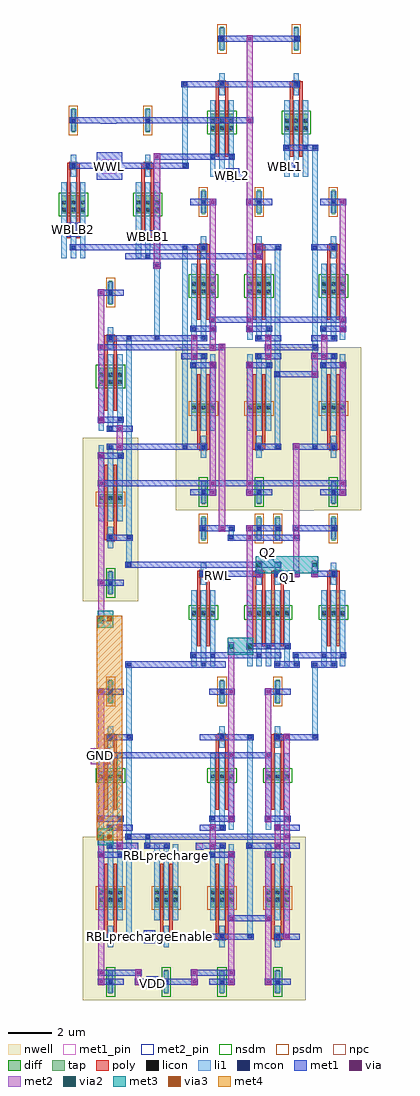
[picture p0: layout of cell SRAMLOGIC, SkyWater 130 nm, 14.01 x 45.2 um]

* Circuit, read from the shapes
.subckt SRAMLOGIC GND NOR OR Q1 Q2 RBLprecharge RBLprechargeEnable RWL VDD WBL1 WBL2 WBLB1 WBLB2 WWL
XM1 n1 WWL WBLB2 GND sky130_fd_pr__nfet_01v8 w=0.84 l=0.15 m=2
XM2 OR n2 GND GND sky130_fd_pr__nfet_01v8 w=0.42 l=0.15 m=2
XM3 n1 Q2 GND GND sky130_fd_pr__nfet_01v8 w=0.84 l=0.15 m=2
XM4 n3 WWL WBLB1 GND sky130_fd_pr__nfet_01v8 w=0.84 l=0.15 m=2
XM5 n2 RWL n4 GND sky130_fd_pr__nfet_01v8 w=0.42 l=0.15 m=2
XM6 Q2 n1 GND GND sky130_fd_pr__nfet_01v8 w=0.84 l=0.15 m=2
XM7 NOR n5 GND GND sky130_fd_pr__nfet_01v8 w=0.42 l=0.15 m=2
XM8 WBL2 WWL Q2 GND sky130_fd_pr__nfet_01v8 w=0.84 l=0.15 m=2
XM9 n4 Q2 GND GND sky130_fd_pr__nfet_01v8 w=0.42 l=0.15 m=2
XM10 Q1 n3 GND GND sky130_fd_pr__nfet_01v8 w=0.84 l=0.15 m=2
XM11 n5 n2 GND GND sky130_fd_pr__nfet_01v8 w=0.42 l=0.15 m=2
XM12 n6 Q1 GND GND sky130_fd_pr__nfet_01v8 w=0.42 l=0.15 m=2
XM13 WBL1 WWL Q1 GND sky130_fd_pr__nfet_01v8 w=0.84 l=0.15 m=2
XM14 n2 RWL n6 GND sky130_fd_pr__nfet_01v8 w=0.42 l=0.15 m=2
XM15 n3 Q1 GND GND sky130_fd_pr__nfet_01v8 w=0.84 l=0.15 m=2
XM16 OR n2 VDD VDD sky130_fd_pr__pfet_01v8 w=0.84 l=0.15 m=2
XM17 n1 Q2 VDD VDD sky130_fd_pr__pfet_01v8 w=0.42 l=0.15 m=2
XM18 n2 RBLprechargeEnable RBLprecharge VDD sky130_fd_pr__pfet_01v8 w=0.84 l=0.15 m=2
XM19 Q2 n1 VDD VDD sky130_fd_pr__pfet_01v8 w=0.42 l=0.15 m=2
XM20 NOR n5 VDD VDD sky130_fd_pr__pfet_01v8 w=0.84 l=0.15 m=2
XM21 Q1 n3 VDD VDD sky130_fd_pr__pfet_01v8 w=0.42 l=0.15 m=2
XM22 n5 n2 VDD VDD sky130_fd_pr__pfet_01v8 w=0.84 l=0.15 m=2
XM23 n3 Q1 VDD VDD sky130_fd_pr__pfet_01v8 w=0.42 l=0.15 m=2
.ends

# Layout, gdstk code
import gdstk
lib = gdstk.Library(unit=1e-6, precision=1e-09)
def R(c, l, rs):  # rectangles x0, y0, x1, y1
    for r in rs: c.add(gdstk.rectangle(r[:2], r[2:], *l))
def A(c, l, x, y, w, h, nx, ny, dx, dy):  # array of equal rectangles
    R(c, l, [(x+i*dx, y+j*dy, x+i*dx+w, y+j*dy+h) for i in range(nx) for j in range(ny)])
nwell = (64, 20)
diff = (65, 20)
tap = (65, 44)
poly = (66, 20)
licon = (66, 44)
li1 = (67, 20)
mcon = (67, 44)
met1_pin = (68, 16)
met1 = (68, 20)
via = (68, 44)
met2_pin = (69, 16)
met2 = (69, 20)
via2 = (69, 44)
met3 = (70, 20)
via3 = (70, 44)
met4 = (71, 20)
nsdm = (93, 44)
psdm = (94, 20)
npc = (95, 20)

sramlogic = lib.new_cell('SRAMLOGIC')
R(sramlogic, nwell, [(1.72,0,12.04,7.56), (1.72,18.48,4.3,26.04), (11,22.67,12.42,22.68), (6.02,22.68,14.62,30.24)])
A(sramlogic, diff, 2.455, 4.305, 1.11, 0.84, 4, 1, 2.58, 0)
R(sramlogic, diff, [(2.455,10.185,3.565,10.605), (7.615,10.185,8.725,10.605), (10.195,10.185,11.305,10.605), (6.755,17.745,7.865,18.165), (9.335,17.745,11.305,18.165), (12.775,17.745,13.885,18.165), (2.455,22.995,3.565,23.415), (6.755,27.195,7.865,27.615), (9.335,27.195,10.445,27.615), (12.775,27.195,13.885,27.615), (2.455,28.455,3.565,29.295), (6.755,32.655,7.865,33.495), (9.335,32.655,10.445,33.495), (12.775,32.655,13.885,33.495), (0.735,36.435,1.845,37.275), (4.175,36.435,5.285,37.275), (7.615,40.215,8.725,41.055), (11.055,40.215,12.165,41.055)])
A(sramlogic, tap, 2.925, 0.28, 0.17, 1.12, 4, 1, 2.58, 0)
R(sramlogic, tap, [(2.925,13.72,3.095,14.84), (8.085,13.72,8.255,14.84), (10.665,13.72,10.835,14.84), (2.925,18.76,3.095,19.88), (7.225,21.28,7.395,22.4), (9.805,21.28,9.975,22.4), (10.665,21.28,10.835,22.4), (13.245,21.28,13.415,22.4), (7.225,22.96,7.395,24.08), (9.805,22.96,9.975,24.08), (13.245,22.96,13.415,24.08), (2.925,32.2,3.095,33.32), (7.225,36.4,7.395,37.52), (9.805,36.4,9.975,37.52), (13.245,36.4,13.415,37.52), (1.205,40.18,1.375,41.3), (4.645,40.18,4.815,41.3), (8.085,43.96,8.255,45.08), (11.525,43.96,11.695,45.08)])
A(sramlogic, poly, 2.72, 2.805, 0.58, 0.27, 4, 1, 2.58, 0)
A(sramlogic, poly, 2.72, 12.045, 0.58, 0.27, 1, 3, 0, 9.24)
A(sramlogic, poly, 9.6, 16.38, 0.15, 3.225, 4, 1, 0.43, 0)
R(sramlogic, poly, [(2.72,3.075,2.87,6.3), (3.15,3.075,3.3,6.3), (5.3,3.075,5.45,6.3), (5.73,3.075,5.88,6.3), (7.88,3.075,8.03,6.3), (8.31,3.075,8.46,6.3), (10.46,3.075,10.61,6.3), (10.89,3.075,11.04,6.3), (2.72,8.82,2.87,12.045), (3.15,8.82,3.3,12.045), (7.88,8.82,8.03,12.045), (8.31,8.82,8.46,12.045), (10.46,8.82,10.61,12.045), (10.89,8.82,11.04,12.045), (7.88,12.045,8.46,12.315), (10.46,12.045,11.04,12.315), (7.02,16.38,7.17,19.605), (7.45,16.38,7.6,19.605), (13.04,16.38,13.19,19.605), (13.47,16.38,13.62,19.605), (7.02,19.605,7.6,19.875), (9.6,19.605,10.18,19.875), (10.46,19.605,11.04,19.875), (13.04,19.605,13.62,19.875), (2.72,21.555,2.87,24.78), (3.15,21.555,3.3,24.78), (7.02,25.485,7.6,25.755), (9.6,25.485,10.18,25.755), (13.04,25.485,13.62,25.755), (7.02,25.755,7.17,28.98), (7.45,25.755,7.6,28.98), (9.6,25.755,9.75,28.98), (10.03,25.755,10.18,28.98), (13.04,25.755,13.19,28.98), (13.47,25.755,13.62,28.98), (2.72,27.3,2.87,30.525), (3.15,27.3,3.3,30.525), (7.02,31.5,7.17,34.725), (7.45,31.5,7.6,34.725), (9.6,31.5,9.75,34.725), (10.03,31.5,10.18,34.725), (13.04,31.5,13.19,34.725), (13.47,31.5,13.62,34.725), (7.02,34.725,7.6,34.995), (9.6,34.725,10.18,34.995), (13.04,34.725,13.62,34.995), (1,35.28,1.15,38.505), (1.43,35.28,1.58,38.505), (4.44,35.28,4.59,38.505), (4.87,35.28,5.02,38.505), (1,38.505,1.58,38.775), (4.44,38.505,5.02,38.775), (7.88,39.06,8.03,42.285), (8.31,39.06,8.46,42.285), (11.32,39.06,11.47,42.285), (11.75,39.06,11.9,42.285), (7.88,42.285,8.46,42.555), (11.32,42.285,11.9,42.555)])
A(sramlogic, licon, 2.925, 0.755, 0.17, 0.17, 4, 2, 2.58, 2.1)
A(sramlogic, licon, 2.495, 4.555, 0.17, 0.17, 3, 2, 0.43, 0.34)
A(sramlogic, licon, 5.075, 4.555, 0.17, 0.17, 3, 2, 0.43, 0.34)
A(sramlogic, licon, 7.655, 4.555, 0.17, 0.17, 3, 2, 0.43, 0.34)
A(sramlogic, licon, 10.235, 4.555, 0.17, 0.17, 3, 2, 0.43, 0.34)
A(sramlogic, licon, 2.495, 10.265, 0.17, 0.17, 3, 2, 0.43, 12.9)
A(sramlogic, licon, 7.655, 10.265, 0.17, 0.17, 3, 2, 0.43, 30.03)
A(sramlogic, licon, 10.235, 10.265, 0.17, 0.17, 3, 1, 0.43, 0)
A(sramlogic, licon, 6.795, 17.825, 0.17, 0.17, 3, 2, 0.43, 9.54)
A(sramlogic, licon, 9.375, 17.825, 0.17, 0.17, 5, 1, 0.43, 0)
A(sramlogic, licon, 12.815, 17.825, 0.17, 0.17, 3, 2, 0.43, 9.54)
A(sramlogic, licon, 9.375, 27.365, 0.17, 0.17, 3, 2, 0.43, 5.37)
A(sramlogic, licon, 2.495, 28.535, 0.17, 0.17, 3, 2, 0.43, 0.34)
A(sramlogic, licon, 6.795, 32.735, 0.17, 0.17, 3, 2, 0.43, 0.34)
A(sramlogic, licon, 12.815, 32.735, 0.17, 0.17, 3, 2, 0.43, 0.34)
A(sramlogic, licon, 9.375, 33.075, 0.17, 0.17, 3, 1, 0.43, 0)
A(sramlogic, licon, 0.775, 36.515, 0.17, 0.17, 3, 2, 0.43, 0.34)
A(sramlogic, licon, 4.215, 36.515, 0.17, 0.17, 3, 2, 0.43, 0.34)
A(sramlogic, licon, 11.095, 40.295, 0.17, 0.17, 3, 2, 0.43, 0.34)
A(sramlogic, licon, 7.655, 40.635, 0.17, 0.17, 3, 1, 0.43, 0)
R(sramlogic, licon, [(2.925,12.095,3.095,12.265), (8.085,12.095,8.255,12.265), (10.665,12.095,10.835,12.265), (2.925,14.195,3.095,14.365), (8.085,14.195,8.255,14.365), (10.665,14.195,10.835,14.365), (2.925,19.235,3.095,19.405), (7.225,19.655,7.395,19.825), (9.805,19.655,9.975,19.825), (10.665,19.655,10.835,19.825), (13.245,19.655,13.415,19.825), (2.925,21.335,3.095,21.505), (7.225,21.755,7.395,21.925), (9.805,21.755,9.975,21.925), (10.665,21.755,10.835,21.925), (13.245,21.755,13.415,21.925), (7.225,23.435,7.395,23.605), (9.805,23.435,9.975,23.605), (13.245,23.435,13.415,23.605), (7.225,25.535,7.395,25.705), (9.805,25.535,9.975,25.705), (13.245,25.535,13.415,25.705), (2.925,30.575,3.095,30.745), (2.925,32.675,3.095,32.845), (7.225,34.775,7.395,34.945), (9.805,34.775,9.975,34.945), (13.245,34.775,13.415,34.945), (7.225,36.875,7.395,37.045), (9.805,36.875,9.975,37.045), (13.245,36.875,13.415,37.045), (1.205,38.555,1.375,38.725), (4.645,38.555,4.815,38.725), (1.205,40.655,1.375,40.825), (4.645,40.655,4.815,40.825), (8.085,42.335,8.255,42.505), (11.525,42.335,11.695,42.505), (8.085,44.435,8.255,44.605), (11.525,44.435,11.695,44.605)])
A(sramlogic, li1, 2.885, 0.335, 0.25, 1.01, 4, 2, 2.58, 2.1)
A(sramlogic, li1, 2.455, 3.695, 0.25, 3.53, 3, 2, 0.43, 4.2)
A(sramlogic, li1, 5.035, 3.695, 0.25, 3.53, 3, 1, 0.43, 0)
A(sramlogic, li1, 7.615, 3.695, 0.25, 3.53, 3, 2, 0.43, 4.2)
A(sramlogic, li1, 10.195, 3.695, 0.25, 3.53, 3, 2, 0.43, 4.2)
A(sramlogic, li1, 6.755, 15.455, 0.25, 3.53, 3, 2, 0.43, 10.92)
A(sramlogic, li1, 9.335, 15.455, 0.25, 3.53, 5, 1, 0.43, 0)
A(sramlogic, li1, 12.775, 15.455, 0.25, 3.53, 3, 2, 0.43, 10.92)
A(sramlogic, li1, 2.455, 22.175, 0.25, 3.53, 3, 2, 0.43, 4.2)
A(sramlogic, li1, 9.335, 26.375, 0.25, 3.53, 3, 2, 0.43, 4.2)
A(sramlogic, li1, 6.755, 30.575, 0.25, 3.53, 3, 1, 0.43, 0)
A(sramlogic, li1, 12.775, 30.575, 0.25, 3.53, 3, 1, 0.43, 0)
A(sramlogic, li1, 0.735, 34.355, 0.25, 3.53, 3, 1, 0.43, 0)
A(sramlogic, li1, 4.175, 34.355, 0.25, 3.53, 3, 1, 0.43, 0)
A(sramlogic, li1, 7.615, 38.135, 0.25, 3.53, 3, 1, 0.43, 0)
A(sramlogic, li1, 11.055, 38.135, 0.25, 3.53, 3, 1, 0.43, 0)
R(sramlogic, li1, [(3.745,2.855,3.995,15.625), (9.335,2.855,9.585,12.265), (4.605,7.055,4.855,7.645), (2.885,11.675,3.135,12.685), (8.045,11.675,8.295,12.685), (10.625,11.675,10.875,12.685), (12.345,12.095,12.595,15.625), (2.885,13.775,3.135,14.785), (8.045,13.775,8.295,14.785), (10.625,13.775,10.875,14.785), (11.485,15.455,11.735,16.045), (2.885,18.815,3.135,19.825), (7.185,19.235,7.435,20.245), (9.765,19.235,10.015,20.245), (10.625,19.235,10.875,20.245), (13.205,19.235,13.455,20.245), (3.745,20.075,3.995,30.745), (2.885,20.915,3.135,21.925), (7.185,21.335,7.435,22.345), (8.475,21.335,8.725,21.925), (9.765,21.335,10.015,22.345), (10.625,21.335,10.875,22.345), (11.485,21.335,11.735,21.925), (13.205,21.335,13.455,22.345), (7.185,23.015,7.435,24.025), (9.765,23.015,10.015,24.025), (13.205,23.015,13.455,24.025), (7.185,25.115,7.435,26.125), (9.765,25.115,10.015,26.125), (13.205,25.115,13.455,26.125), (6.325,25.535,6.575,34.945), (10.625,25.535,10.875,34.945), (12.345,25.535,12.595,39.565), (2.885,30.155,3.135,31.165), (5.035,30.575,5.285,34.105), (2.885,32.255,3.135,33.265), (7.185,34.355,7.435,35.365), (9.765,34.355,10.015,35.365), (13.205,34.355,13.455,35.365), (7.185,36.455,7.435,37.465), (9.765,36.455,10.015,37.465), (13.205,36.455,13.455,37.465), (1.165,38.135,1.415,39.145), (4.605,38.135,4.855,39.145), (6.325,38.555,6.575,42.505), (1.165,40.235,1.415,41.245), (4.605,40.235,4.855,41.245), (8.045,41.915,8.295,42.925), (11.485,41.915,11.735,42.925), (8.045,44.015,8.295,45.025), (11.485,44.015,11.735,45.025)])
A(sramlogic, mcon, 2.925, 0.755, 0.17, 0.17, 4, 1, 2.58, 0)
A(sramlogic, mcon, 3.785, 2.855, 0.17, 0.17, 1, 3, 0, 4.62)
A(sramlogic, mcon, 8.085, 2.855, 0.17, 0.17, 3, 2, 1.29, 4.2)
A(sramlogic, mcon, 8.085, 12.095, 0.17, 0.17, 3, 1, 1.29, 0)
A(sramlogic, mcon, 3.785, 15.455, 0.17, 0.17, 3, 1, 3.44, 0)
A(sramlogic, mcon, 11.525, 15.455, 0.17, 0.17, 3, 1, 0.86, 0)
A(sramlogic, mcon, 9.375, 16.295, 0.17, 0.17, 3, 1, 0.86, 0)
A(sramlogic, mcon, 7.225, 21.755, 0.17, 0.17, 3, 1, 1.29, 0)
A(sramlogic, mcon, 12.385, 25.535, 0.17, 0.17, 1, 4, 0, 4.62)
A(sramlogic, mcon, 6.365, 34.775, 0.17, 0.17, 1, 3, 0, 3.78)
R(sramlogic, mcon, [(2.925,2.855,3.095,3.025), (5.505,2.855,5.675,3.025), (2.495,6.635,2.665,6.805), (3.355,6.635,3.525,6.805), (5.075,6.635,5.245,6.805), (5.935,6.635,6.105,6.805), (7.655,6.635,7.825,6.805), (8.515,6.635,8.685,6.805), (10.235,6.635,10.405,6.805), (11.095,6.635,11.265,6.805), (2.925,7.055,3.095,7.225), (4.645,7.055,4.815,7.225), (5.505,7.055,5.675,7.225), (4.645,7.475,4.815,7.645), (2.925,7.895,3.095,8.065), (8.085,7.895,8.255,8.065), (10.665,7.895,10.835,8.065), (2.495,8.315,2.665,8.485), (3.355,8.315,3.525,8.485), (7.655,8.315,7.825,8.485), (8.515,8.315,8.685,8.485), (10.235,8.315,10.405,8.485), (11.095,8.315,11.265,8.485), (2.925,12.095,3.095,12.265), (12.385,12.095,12.555,12.265), (2.925,14.195,3.095,14.365), (8.085,14.195,8.255,14.365), (10.665,14.195,10.835,14.365), (6.795,15.875,6.965,16.045), (7.655,15.875,7.825,16.045), (9.805,15.875,9.975,16.045), (11.525,15.875,11.695,16.045), (12.815,15.875,12.985,16.045), (13.675,15.875,13.845,16.045), (2.925,19.235,3.095,19.405), (7.225,19.655,7.395,19.825), (10.665,19.655,10.835,19.825), (13.245,19.655,13.415,19.825), (3.785,20.075,3.955,20.245), (9.805,20.075,9.975,20.245), (2.925,21.335,3.095,21.505), (3.785,21.335,3.955,21.505), (8.515,21.335,8.685,21.505), (11.525,21.335,11.695,21.505), (10.665,21.755,10.835,21.925), (11.525,21.755,11.695,21.925), (13.245,21.755,13.415,21.925), (7.225,23.435,7.395,23.605), (9.805,23.435,9.975,23.605), (13.245,23.435,13.415,23.605), (2.495,25.115,2.665,25.285), (3.355,25.115,3.525,25.285), (2.925,25.535,3.095,25.705), (6.365,25.535,6.535,25.705), (7.225,25.535,7.395,25.705), (9.805,25.535,9.975,25.705), (10.665,25.535,10.835,25.705), (13.245,25.535,13.415,25.705), (2.925,26.375,3.095,26.545), (2.495,26.795,2.665,26.965), (3.355,26.795,3.525,26.965), (10.665,28.895,10.835,29.065), (6.795,29.315,6.965,29.485), (7.655,29.315,7.825,29.485), (9.375,29.315,9.545,29.485), (10.235,29.315,10.405,29.485), (12.815,29.315,12.985,29.485), (13.675,29.315,13.845,29.485), (7.225,29.735,7.395,29.905), (9.805,29.735,9.975,29.905), (13.245,29.735,13.415,29.905), (2.925,30.575,3.095,30.745), (3.785,30.575,3.955,30.745), (5.075,30.575,5.245,30.745), (7.225,30.575,7.395,30.745), (9.805,30.575,9.975,30.745), (13.245,30.575,13.415,30.745), (6.795,30.995,6.965,31.165), (7.655,30.995,7.825,31.165), (9.375,30.995,9.545,31.165), (10.235,30.995,10.405,31.165), (12.815,30.995,12.985,31.165), (13.675,30.995,13.845,31.165), (2.925,32.675,3.095,32.845), (5.075,33.935,5.245,34.105), (4.645,34.355,4.815,34.525), (1.205,34.775,1.375,34.945), (7.225,34.775,7.395,34.945), (9.805,34.775,9.975,34.945), (10.665,34.775,10.835,34.945), (13.245,34.775,13.415,34.945), (4.215,35.195,4.385,35.365), (5.075,35.195,5.245,35.365), (0.775,35.615,0.945,35.785), (1.635,35.615,1.805,35.785), (7.225,36.875,7.395,37.045), (9.805,36.875,9.975,37.045), (13.245,36.875,13.415,37.045), (8.085,38.135,8.255,38.305), (1.205,38.555,1.375,38.725), (4.645,38.555,4.815,38.725), (11.525,38.555,11.695,38.725), (7.655,38.975,7.825,39.145), (8.515,38.975,8.685,39.145), (11.095,39.395,11.265,39.565), (11.955,39.395,12.125,39.565), (1.205,40.655,1.375,40.825), (4.645,40.655,4.815,40.825), (8.085,42.335,8.255,42.505), (11.525,42.335,11.695,42.505), (8.085,44.435,8.255,44.605), (11.525,44.435,11.695,44.605)])
R(sramlogic, met1_pin, [(4.76,0.61,5.12,0.96), (4.64,2.81,5,3.08), (5.42,6.58,5.78,6.82), (3.89,7,4.19,7.19), (7.02,7.04,7.29,7.23), (11.09,19.41,11.41,19.69), (7.84,19.54,8.18,19.79), (10.19,20.6,10.5,20.82), (4.56,35.2,4.97,35.48), (1.07,35.53,1.51,35.87), (8.45,38.03,8.86,38.34), (2.63,38.28,3.28,38.93), (10.97,38.48,11.28,38.76)])
A(sramlogic, met1, 2.41, 6.58, 1.2, 0.28, 4, 1, 2.58, 0)
R(sramlogic, met1, [(4.66,0.51,5.21,0.7), (2.41,0.7,3.61,0.98), (4.14,0.7,7.04,0.98), (7.57,0.7,8.77,0.98), (10.15,0.7,11.35,0.98), (4.66,0.98,5.21,1.11), (2.42,1.12,4.46,1.4), (6.72,1.12,8.76,1.4), (4.55,2.62,5.07,2.8), (2.84,2.8,4.04,3.08), (4.55,2.8,5.76,3.08), (7.14,2.8,9.63,3.08), (10.58,2.8,11.78,3.08), (4.55,3.08,5.07,3.22), (8.44,3.64,10.48,3.92), (5.38,6.47,5.8,6.58), (3.81,6.93,4.29,7), (6.96,6.96,7.33,7), (2.84,7,4.29,7.28), (4.56,7,5.76,7.28), (6.96,7,8.34,7.28), (9.29,7,11.78,7.28), (3.7,7.42,11.34,7.7), (2.84,7.84,4.04,8.12), (7.14,7.84,8.34,8.12), (10.58,7.84,11.78,8.12), (2.41,8.26,3.61,8.54), (7.57,8.26,8.77,8.54), (10.15,8.26,11.35,8.54), (2.42,11.2,10.48,11.48), (2.84,12.04,4.04,12.32), (7.14,12.04,9.63,12.32), (10.58,12.04,12.64,12.32), (2.41,14.14,3.61,14.42), (7.57,14.14,8.77,14.42), (10.15,14.14,11.35,14.42), (3.7,15.4,8.34,15.68), (10.58,15.4,11.78,15.68), (12.3,15.4,13.5,15.68), (6.71,15.82,10.92,16.1), (11.44,15.82,13.93,16.1), (9.29,16.24,11.35,16.52), (2.41,19.18,3.61,19.46), (11.03,19.3,11.48,19.6), (7.71,19.43,8.32,19.6), (7.14,19.6,10.05,19.88), (10.58,19.6,11.78,19.88), (12.3,19.6,13.5,19.88), (3.7,20.02,10.92,20.3), (10.12,20.3,10.57,20.91), (2.84,21.28,4.04,21.56), (8.43,21.28,11.78,21.56), (7.14,21.7,8.77,21.98), (9.29,21.7,10.92,21.98), (11.44,21.7,13.5,21.98), (6.71,23.38,7.91,23.66), (9.29,23.38,10.49,23.66), (12.73,23.38,13.93,23.66), (2.42,23.8,13.92,24.08), (2.41,25.06,3.61,25.34), (2.84,25.48,7.48,25.76), (9.72,25.48,10.92,25.76), (11.45,25.48,13.5,25.76), (2.84,26.32,4.04,26.6), (2.41,26.74,3.61,27.02), (10.58,28.84,12.63,29.12), (6.71,29.26,7.91,29.54), (9.29,29.26,10.49,29.54), (12.73,29.26,13.93,29.54), (6.28,29.68,7.48,29.96), (9.72,29.68,10.92,29.96), (12.3,29.68,13.5,29.96), (2.42,30.1,8.33,30.38), (10.16,30.1,12.64,30.38), (2.84,30.52,7.48,30.8), (9.72,30.52,10.92,30.8), (12.3,30.52,13.5,30.8), (6.71,30.94,7.91,31.22), (9.29,30.94,10.49,31.22), (12.73,30.94,13.93,31.22), (7.58,31.36,13.92,31.64), (2.41,32.62,3.61,32.9), (4.99,33.88,5.33,34.16), (3.7,34.3,10.05,34.58), (1.12,34.72,7.48,35), (9.72,34.72,10.92,35), (12.3,34.72,13.5,35), (4.13,35.14,5.33,35.42), (0.95,35.34,1.6,35.56), (4.49,35.42,5.04,35.65), (0.69,35.56,1.89,35.84), (0.95,35.84,1.6,35.99), (6.71,36.82,7.91,37.1), (9.29,36.82,10.49,37.1), (12.73,36.82,13.93,37.1), (8.35,37.9,8.97,38.08), (2.38,37.98,3.55,38.5), (8,38.08,9.2,38.36), (8.35,38.36,8.97,38.52), (10.89,38.39,11.34,38.5), (1.12,38.5,6.62,38.78), (10.58,38.5,11.78,38.78), (2.38,38.78,3.55,39.27), (10.89,38.78,11.34,38.85), (5,38.92,8.77,39.2), (11.01,39.34,12.64,39.62), (2.55,40.59,3.28,40.6), (1.12,40.6,9.62,40.88), (2.55,40.88,3.28,40.89), (6.28,42.28,11.78,42.56), (8,44.38,11.78,44.66)])
A(sramlogic, via, 6.805, 0.765, 0.15, 0.15, 3, 1, 1.72, 0)
A(sramlogic, via, 11.105, 2.865, 0.15, 0.15, 1, 3, 0, 4.62)
A(sramlogic, via, 2.505, 8.325, 0.15, 0.15, 1, 3, 0, 2.94)
A(sramlogic, via, 8.525, 8.325, 0.15, 0.15, 1, 3, 0, 2.94)
A(sramlogic, via, 10.245, 8.325, 0.15, 0.15, 1, 3, 0, 2.94)
A(sramlogic, via, 7.665, 29.325, 0.15, 0.15, 1, 3, 0, 0.84)
A(sramlogic, via, 10.245, 29.745, 0.15, 0.15, 1, 3, 0, 0.42)
A(sramlogic, via, 9.385, 36.885, 0.15, 0.15, 1, 3, 0, 3.78)
R(sramlogic, via, [(2.505,0.765,2.655,0.915), (4.225,0.765,4.375,0.915), (2.505,1.185,2.655,1.335), (4.225,1.185,4.375,1.335), (6.805,1.185,6.955,1.335), (8.525,1.185,8.675,1.335), (8.525,3.705,8.675,3.855), (10.245,3.705,10.395,3.855), (2.505,6.645,2.655,6.795), (8.525,6.645,8.675,6.795), (10.245,6.645,10.395,6.795), (3.365,7.065,3.515,7.215), (7.665,7.065,7.815,7.215), (10.675,7.065,10.825,7.215), (3.365,7.905,3.515,8.055), (7.665,7.905,7.815,8.055), (10.675,7.905,10.825,8.055), (9.385,16.305,9.535,16.455), (2.505,19.245,2.655,19.395), (9.815,19.665,9.965,19.815), (11.535,19.665,11.685,19.815), (12.395,19.665,12.545,19.815), (9.385,21.345,9.535,21.495), (8.095,21.765,8.245,21.915), (9.385,21.765,9.535,21.915), (7.665,23.445,7.815,23.595), (9.385,23.445,9.535,23.595), (13.685,23.445,13.835,23.595), (2.505,23.865,2.655,24.015), (7.665,23.865,7.815,24.015), (9.385,23.865,9.535,24.015), (13.685,23.865,13.835,24.015), (2.505,25.125,2.655,25.275), (3.365,25.545,3.515,25.695), (11.535,25.545,11.685,25.695), (3.365,26.385,3.515,26.535), (2.505,26.805,2.655,26.955), (12.395,28.905,12.545,29.055), (9.385,29.325,9.535,29.475), (13.685,29.325,13.835,29.475), (6.805,29.745,6.955,29.895), (12.395,29.745,12.545,29.895), (12.825,29.745,12.975,29.895), (2.505,30.165,2.655,30.315), (8.095,30.165,8.245,30.315), (6.805,30.585,6.955,30.735), (12.825,30.585,12.975,30.735), (9.385,31.005,9.535,31.155), (13.685,31.005,13.835,31.155), (7.665,31.425,7.815,31.575), (9.385,31.425,9.535,31.575), (13.685,31.425,13.835,31.575), (2.505,32.685,2.655,32.835), (5.085,33.945,5.235,34.095), (9.815,34.365,9.965,34.515), (9.815,34.785,9.965,34.935), (7.665,36.885,7.815,37.035), (13.685,36.885,13.835,37.035), (5.085,38.985,5.235,39.135)])
R(sramlogic, met2_pin, [(2.23,11.1,2.84,11.55)])
R(sramlogic, met2, [(2.44,0.68,2.72,7.745), (4.16,0.68,4.44,1.42), (6.74,0.68,7.02,1.42), (8.46,0.68,8.74,6.88), (10.18,0.68,10.46,6.88), (11.04,2.78,11.32,12.34), (3.3,6.98,3.58,8.14), (7.6,6.98,7.88,8.14), (10.61,6.98,10.89,8.14), (2.44,8.24,2.72,10.93), (8.46,8.24,8.74,16.565), (10.18,8.24,10.46,14.44), (2.09,10.93,2.99,11.67), (2.44,11.67,2.72,14.44), (9.32,16.195,9.6,22), (2.44,17.455,2.72,25.36), (9.75,19.58,10.03,20.345), (11.47,19.58,11.75,25.78), (12.33,19.58,12.61,20.345), (8.03,21.68,8.31,30.4), (7.6,23.36,7.88,29.56), (9.32,23.36,9.6,29.56), (13.62,23.36,13.9,29.56), (3.3,25.46,3.58,26.62), (2.44,26.72,2.72,32.92), (12.33,28.82,12.61,29.98), (6.74,29.66,7.02,30.82), (10.18,29.66,10.46,30.82), (12.76,29.66,13.04,30.82), (7.6,30.08,7.88,37.12), (9.32,30.92,9.6,44.68), (13.62,30.92,13.9,37.12), (5.02,33.86,5.3,39.22), (9.75,34.28,10.03,35.02)])
R(sramlogic, via2, [(2.48,7.46,2.68,7.66), (8.5,16.28,8.7,16.48), (9.36,16.28,9.56,16.48), (2.48,17.54,2.68,17.74), (9.79,20.06,9.99,20.26), (12.37,20.06,12.57,20.26)])
R(sramlogic, met3, [(2.415,7.16,3.125,7.96), (8.435,15.98,9.625,16.78), (2.415,17.24,3.125,18.04), (9.725,19.76,12.635,20.56)])
R(sramlogic, via3, [(2.86,7.46,3.06,7.66), (2.86,17.54,3.06,17.74)])
R(sramlogic, met4, [(2.37,7.395,3.55,17.805)])
A(sramlogic, nsdm, 2.8, 0.155, 0.42, 1.37, 4, 1, 2.58, 0)
R(sramlogic, nsdm, [(2.33,10.06,3.69,10.73), (7.49,10.06,8.85,10.73), (10.07,10.06,11.43,10.73), (6.63,17.62,7.99,18.29), (9.21,17.62,11.43,18.29), (12.65,17.62,14.01,18.29), (2.8,18.635,3.22,20.005), (7.1,22.835,7.52,24.205), (9.68,22.835,10.1,24.205), (13.12,22.835,13.54,24.205), (2.33,28.33,3.69,29.42), (6.63,32.53,7.99,33.62), (9.21,32.53,10.57,33.62), (12.65,32.53,14.01,33.62), (0.61,36.31,1.97,37.4), (4.05,36.31,5.41,37.4), (7.49,40.09,8.85,41.18), (10.93,40.09,12.29,41.18)])
A(sramlogic, psdm, 2.33, 4.18, 1.36, 1.09, 4, 1, 2.58, 0)
R(sramlogic, psdm, [(2.8,13.595,3.22,14.965), (7.96,13.595,8.38,14.965), (10.54,13.595,10.96,14.965), (7.1,21.155,7.52,22.525), (9.68,21.155,10.1,22.525), (10.54,21.155,10.96,22.525), (13.12,21.155,13.54,22.525), (2.33,22.87,3.69,23.54), (6.63,27.07,7.99,27.74), (9.21,27.07,10.57,27.74), (12.65,27.07,14.01,27.74), (2.8,32.075,3.22,33.445), (7.1,36.275,7.52,37.645), (9.68,36.275,10.1,37.645), (13.12,36.275,13.54,37.645), (1.08,40.055,1.5,41.425), (4.52,40.055,4.94,41.425), (7.96,43.835,8.38,45.205), (11.4,43.835,11.82,45.205)])
A(sramlogic, npc, 2.825, 2.755, 0.37, 0.37, 4, 1, 2.58, 0)
A(sramlogic, npc, 2.825, 11.995, 0.37, 0.37, 1, 3, 0, 9.24)
R(sramlogic, npc, [(7.985,11.995,8.355,12.365), (10.565,11.995,10.935,12.365), (7.125,19.555,7.495,19.925), (9.705,19.555,10.075,19.925), (10.565,19.555,10.935,19.925), (13.145,19.555,13.515,19.925), (7.125,25.435,7.495,25.805), (9.705,25.435,10.075,25.805), (13.145,25.435,13.515,25.805), (7.125,34.675,7.495,35.045), (9.705,34.675,10.075,35.045), (13.145,34.675,13.515,35.045), (1.105,38.455,1.475,38.825), (4.545,38.455,4.915,38.825), (7.985,42.235,8.355,42.605), (11.425,42.235,11.795,42.605)])
sramlogic.add(gdstk.Label('WWL', (2.955,38.605), layer=68, texttype=5))
sramlogic.add(gdstk.Label('VDD', (4.94,0.785), layer=68, texttype=5))
sramlogic.add(gdstk.Label('WBLB1', (4.765,35.34), layer=68, texttype=5))
sramlogic.add(gdstk.Label('WBL2', (8.655,38.185), layer=68, texttype=5))
sramlogic.add(gdstk.Label('WBL1', (11.125,38.62), layer=68, texttype=5))
sramlogic.add(gdstk.Label('WBLB2', (1.29,35.7), layer=68, texttype=5))
sramlogic.add(gdstk.Label('GND', (2.535,11.325), layer=69, texttype=5))
sramlogic.add(gdstk.Label('Q1', (11.25,19.55), layer=68, texttype=5))
sramlogic.add(gdstk.Label('Q2', (10.345,20.71), layer=68, texttype=5))
sramlogic.add(gdstk.Label('RWL', (8.01,19.665), layer=68, texttype=5))
sramlogic.add(gdstk.Label('RBLprechargeEnable', (4.82,2.945), layer=68, texttype=5))
sramlogic.add(gdstk.Label('RBLprecharge', (5.6,6.7), layer=68, texttype=5))
sramlogic.add(gdstk.Label('NOR', (7.155,7.135), layer=68, texttype=5))
sramlogic.add(gdstk.Label('OR', (4.04,7.095), layer=68, texttype=5))

lib.write_gds('SRAMLOGIC.gds')
